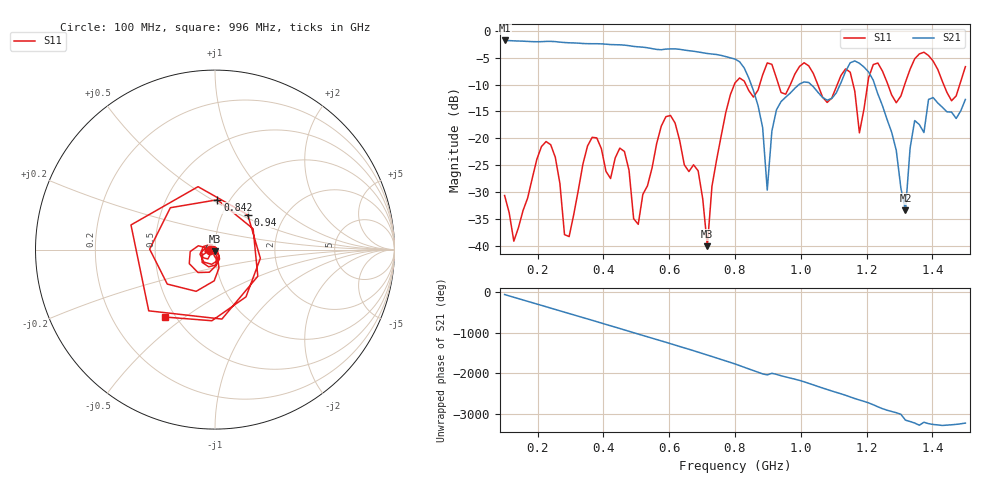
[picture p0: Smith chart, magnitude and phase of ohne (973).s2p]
! NanoVNA-App
! Date: 2025-09-25 14:28:22
! Start: 100MHz Stop: 1,5GHz Points: 101
! S-Parameter data: F S11 S21 S12 S22
# Hz S RI R 50
!  Frequency  S11_Real  S11_Imag  S21_Real  S21_Imag  S12_Real  S12_Imag  S22_Real  S22_Imag
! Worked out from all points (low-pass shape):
!   101 points, 100 MHz to 1.5 GHz, reference 50 ohm
!   highest |S21| = -1.79 dB at 100 MHz (marker M1); lowest = -33.4 dB at 1.318 GHz (marker M2)
!   |S21| within 3 dB of the highest: start of sweep to 771.7 MHz
!   lowest |S11| = -40.1 dB at 716 MHz (marker M3), VSWR 1.02, Z = 49.8 - j0.969 ohm
!   |S11| at or under -10 dB: start of sweep to 798 MHz; 833.2 MHz to 875.1 MHz (41.9 MHz wide, 4.91 % of centre); 1.052 GHz to 1.111 GHz (59.26 MHz wide, 5.48 % of centre)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
!   S12 and S22 are empty: the file has one direction only
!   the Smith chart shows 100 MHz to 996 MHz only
!   S11 on the Smith chart (normalised r, x): 100 MHz: 0.94, -0.01; 842 MHz: 0.88, +0.53; 940 MHz: 1.31, +0.55; 996 MHz: 0.44, -0.42
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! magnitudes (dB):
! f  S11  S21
! 100 MHz  -30.6  -1.8
! 128 MHz  -39.1  -1.9
! 226 MHz  -20.6  -2.0
! 296 MHz  -38.3  -2.2
! 338 MHz  -24.8  -2.4
! 464 MHz  -22.4  -2.7
! 506 MHz  -36.0  -3.0
! 576 MHz  -17.7  -3.5
! 688 MHz  -26.0  -3.9
! 716 MHz  -40.1  -4.2
! 800 MHz  -9.7  -5.3
! 842 MHz  -11.1  -8.8
! 898 MHz  -6.0  -29.6
! 940 MHz  -11.5  -13.2
! 996 MHz  -6.6  -9.9
! 1.038 GHz  -7.9  -10.4
! 1.178 GHz  -19.0  -6.0
! 1.22 GHz  -6.3  -9.2
! 1.276 GHz  -11.9  -18.9
! 1.318 GHz  -9.5  -33.4
! 1.346 GHz  -5.2  -16.7
! 1.5 GHz  -6.7  -12.8
